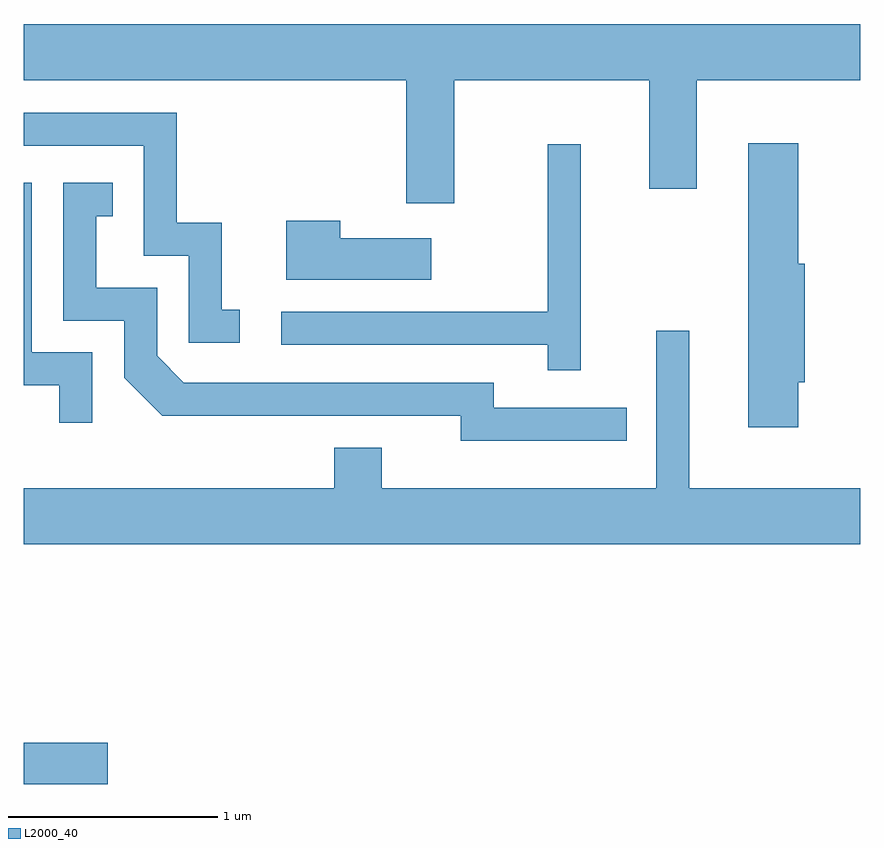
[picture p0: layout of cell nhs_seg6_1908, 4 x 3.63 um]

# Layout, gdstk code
import gdstk
lib = gdstk.Library(unit=1e-6, precision=1e-09)
def R(c, l, rs):  # rectangles x0, y0, x1, y1
    for r in rs: c.add(gdstk.rectangle(r[:2], r[2:], *l))
def P(c, l, *ps):  # polygons
    for p in ps: c.add(gdstk.Polygon(p, *l))
L2000_40 = (2000, 40)

nhs_seg6_1908 = lib.new_cell('nhs_seg6_1908')
R(nhs_seg6_1908, L2000_40, [(243.611,1562.211,244.014,1562.409)])
P(nhs_seg6_1908, L2000_40, [(245.669,1565.576),(246.601,1565.576),(246.601,1565.056),(246.829,1565.056),(246.829,1565.576),(247.611,1565.576),(247.611,1565.844),(243.611,1565.844),(243.611,1565.576),(245.441,1565.576),(245.441,1564.986),(245.669,1564.986)],
  [(244.643,1564.479),(244.559,1564.479),(244.559,1564.894),(244.344,1564.894),(244.344,1565.419),(243.611,1565.419),(243.611,1565.261),(244.186,1565.261),(244.186,1564.736),(244.401,1564.736),(244.401,1564.321),(244.643,1564.321)],
  [(247.314,1564.131),(247.344,1564.131),(247.344,1564.699),(247.314,1564.699),(247.314,1565.274),(247.076,1565.274),(247.076,1563.916),(247.314,1563.916)],
  [(246.274,1565.268),(246.116,1565.268),(246.116,1564.469),(244.843,1564.469),(244.843,1564.311),(246.116,1564.311),(246.116,1564.188),(246.274,1564.188)],
  [(246.493,1564.009),(245.859,1564.009),(245.859,1564.129),(244.377,1564.129),(244.249,1564.257),(244.249,1564.584),(243.959,1564.584),(243.959,1564.926),(244.038,1564.926),(244.038,1565.084),(243.801,1565.084),(243.801,1564.426),(244.091,1564.426),(244.091,1564.154),(244.274,1563.971),(245.701,1563.971),(245.701,1563.851),(246.493,1563.851)],
  [(243.939,1564.274),(243.649,1564.274),(243.649,1565.084),(243.611,1565.084),(243.611,1564.116),(243.781,1564.116),(243.781,1563.938),(243.939,1563.938)],
  [(245.559,1564.819),(245.124,1564.819),(245.124,1564.904),(244.866,1564.904),(244.866,1564.621),(245.559,1564.621)],
  [(247.611,1563.624),(246.794,1563.624),(246.794,1564.378),(246.636,1564.378),(246.636,1563.624),(245.324,1563.624),(245.324,1563.819),(245.096,1563.819),(245.096,1563.624),(243.611,1563.624),(243.611,1563.356),(247.611,1563.356)])

lib.write_gds('nhs_seg6_1908.gds')
